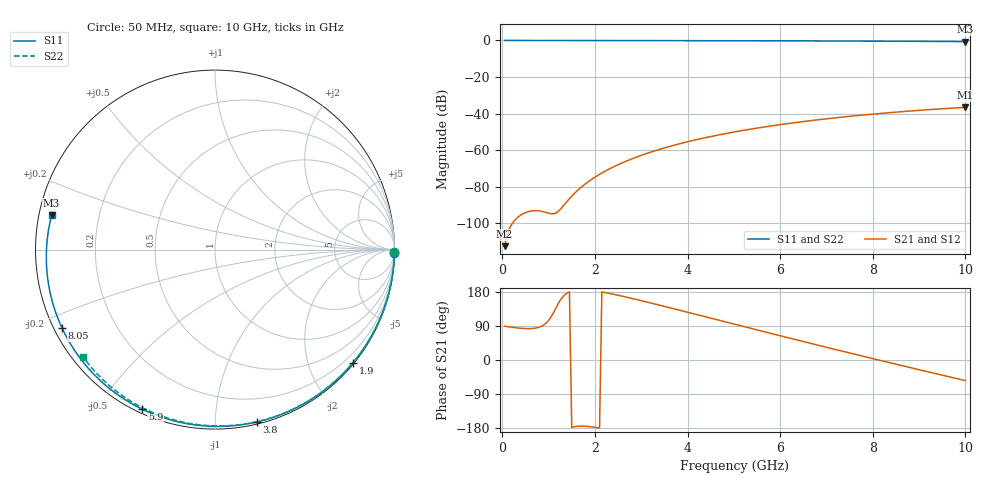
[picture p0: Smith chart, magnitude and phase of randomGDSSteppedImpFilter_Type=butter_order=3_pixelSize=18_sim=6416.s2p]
! freq	dB(S11)	phase(S11)	dB(S12)	phase(S12)
!  dB(S21)	phase(S21)	dB(S22)	phase(S22)
!S-par simulation data
#  GHz  S  DB  R 50
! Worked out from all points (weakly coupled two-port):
!   200 points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, 50 MHz to 10 GHz, reference 50 ohm
!   highest |S21| = -36.63 dB at 10 GHz (marker M1); lowest = -112.6 dB at 50 MHz (marker M2)
!   lowest |S11| = -0.6 dB at 10 GHz (marker M3), VSWR 27.60, Z = 1.83 + j5.17 ohm
!   |S11| at or under -10 dB: nowhere
!   |S22| runs from -0.5 to 0.0 dB; largest |S21 - S12| = 0
!   S11 on the Smith chart (normalised r, x): 50 MHz: open; 1.9 GHz: 0.03, -2.80; 3.8 GHz: 0.02, -1.27; 5.9 GHz: 0.02, -0.64; 8.05 GHz: 0.02, -0.24; 10 GHz: 0.04, +0.10
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0.05  -0.00 -1.1  -112.63 89.1  -112.63 89.1  -0.00 -0.8
0.45  -0.01 -9.5  -94.86 83.3  -94.86 83.3  -0.01 -7.3
0.85  -0.02 -17.8  -93.54 89.3  -93.54 89.3  -0.02 -13.8
1.25  -0.03 -26.1  -92.55 157.5  -92.55 157.5  -0.03 -20.2
1.7  -0.04 -35.3  -80.44 -174.5  -80.44 -174.5  -0.03 -27.3
1.75  -0.05 -36.3  -79.39 -174.6  -79.39 -174.6  -0.04 -28.1
1.9  -0.05 -39.3  -76.55 -176.0  -76.55 -176.0  -0.04 -30.4
2.2  -0.06 -45.3  -71.84 178.4  -71.84 178.4  -0.04 -35.1
2.55  -0.07 -52.3  -67.46 169.5  -67.46 169.5  -0.05 -40.5
2.95  -0.08 -60.1  -63.38 158.1  -63.38 158.1  -0.06 -46.6
3.4  -0.09 -68.8  -59.60 144.6  -59.60 144.6  -0.07 -53.4
3.8  -0.10 -76.3  -56.75 132.3  -56.75 132.3  -0.08 -59.3
4.4  -0.13 -87.5  -53.15 113.6  -53.15 113.6  -0.10 -68.0
5.05  -0.15 -99.3  -49.92 93.4  -49.92 93.4  -0.12 -77.2
5.9  -0.20 -114.5  -46.45 67.1  -46.45 67.1  -0.15 -88.8
6.7  -0.25 -128.6  -43.78 42.6  -43.78 42.6  -0.19 -99.4
7.4  -0.31 -141.1  -41.80 21.5  -41.80 21.5  -0.23 -108.4
8.05  -0.38 -152.9  -40.22 2.2  -40.22 2.2  -0.28 -116.6
8.35  -0.41 -158.5  -39.55 -6.7  -39.55 -6.7  -0.31 -120.4
9.2  -0.51 -175.0  -37.90 -31.4  -37.90 -31.4  -0.38 -131.0
9.6  -0.57 176.8  -37.23 -42.9  -37.23 -42.9  -0.43 -135.9
10  -0.63 168.2  -36.63 -54.4  -36.63 -54.4  -0.47 -140.9
